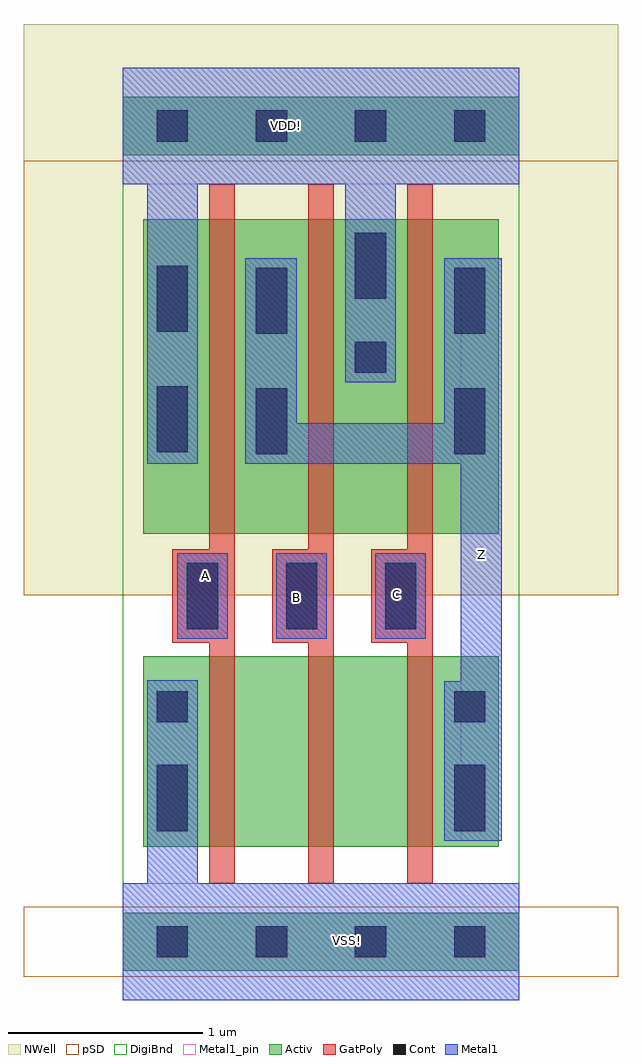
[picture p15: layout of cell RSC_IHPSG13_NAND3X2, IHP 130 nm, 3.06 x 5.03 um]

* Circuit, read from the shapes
.subckt RSC_IHPSG13_NAND3X2 A B C VDD! VSS! Z
XM1 n1 A VSS! VSS! sg13_lv_nmos w=0.98u l=0.13u
XM2 n2 B n1 VSS! sg13_lv_nmos w=0.98u l=0.13u
XM3 Z C n2 VSS! sg13_lv_nmos w=0.98u l=0.13u
XM4 Z A VDD! VDD! sg13_lv_pmos w=1.62u l=0.13u
XM5 VDD! B Z VDD! sg13_lv_pmos w=1.62u l=0.13u
XM6 Z C VDD! VDD! sg13_lv_pmos w=1.62u l=0.13u
.ends

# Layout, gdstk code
import gdstk
lib = gdstk.Library(unit=1e-6, precision=1e-09)
def R(c, l, rs):  # rectangles x0, y0, x1, y1
    for r in rs: c.add(gdstk.rectangle(r[:2], r[2:], *l))
def A(c, l, x, y, w, h, nx, ny, dx, dy):  # array of equal rectangles
    R(c, l, [(x+i*dx, y+j*dy, x+i*dx+w, y+j*dy+h) for i in range(nx) for j in range(ny)])
def P(c, l, *ps):  # polygons
    for p in ps: c.add(gdstk.Polygon(p, *l))
Activ = (1, 0)
GatPoly = (5, 0)
Cont = (6, 0)
Metal1 = (8, 0)
Metal1_pin = (8, 2)
pSD = (14, 0)
DigiBnd = (16, 0)
NWell = (31, 0)

rsc_ihpsg13_nand3x2 = lib.new_cell('RSC_IHPSG13_NAND3X2')
R(rsc_ihpsg13_nand3x2, Activ, [(0,-0.15,2.04,0.15), (0.105,0.49,1.935,1.47), (0.105,2.1,1.935,3.72), (0,4.05,2.04,4.35)])
P(rsc_ihpsg13_nand3x2, GatPoly, [(1.465,0.3),(1.465,1.54),(1.28,1.54),(1.28,2.02),(1.465,2.02),(1.465,3.9),(1.595,3.9),(1.595,0.3)],
  [(0.955,0.3),(0.955,1.54),(0.77,1.54),(0.77,2.02),(0.955,2.02),(0.955,3.9),(1.085,3.9),(1.085,0.3)],
  [(0.445,0.3),(0.445,1.54),(0.255,1.54),(0.255,2.02),(0.445,2.02),(0.445,3.9),(0.575,3.9),(0.575,0.3)])
A(rsc_ihpsg13_nand3x2, Cont, 0.175, -0.08, 0.16, 0.16, 4, 2, 0.51, 4.2)
A(rsc_ihpsg13_nand3x2, Cont, 0.33, 1.61, 0.16, 0.34, 3, 1, 0.51, 0)
R(rsc_ihpsg13_nand3x2, Cont, [(0.175,0.57,0.335,0.91), (1.705,0.57,1.865,0.91), (0.175,1.13,0.335,1.29), (1.705,1.13,1.865,1.29), (0.685,2.51,0.845,2.85), (1.705,2.51,1.865,2.85), (0.175,2.52,0.335,2.86), (1.195,2.93,1.355,3.09), (0.685,3.13,0.845,3.47), (1.705,3.13,1.865,3.47), (0.175,3.14,0.335,3.48), (1.195,3.31,1.355,3.65)])
A(rsc_ihpsg13_nand3x2, Metal1, 0.28, 1.56, 0.26, 0.44, 3, 1, 0.51, 0)
P(rsc_ihpsg13_nand3x2, Metal1, [(1.655,0.52),(1.655,1.34),(1.74,1.34),(1.74,2.46),(0.63,2.46),(0.63,3.52),(0.895,3.52),(0.895,2.67),(1.655,2.67),(1.655,3.52),(1.95,3.52),(1.95,0.52)],
  [(0,-0.3),(0,0.3),(0.125,0.3),(0.125,1.345),(0.385,1.345),(0.385,0.3),(2.04,0.3),(2.04,-0.3)],
  [(0.125,2.46),(0.125,3.9),(0,3.9),(0,4.5),(2.04,4.5),(2.04,3.9),(1.405,3.9),(1.405,2.88),(1.145,2.88),(1.145,3.9),(0.385,3.9),(0.385,2.46)])
A(rsc_ihpsg13_nand3x2, Metal1_pin, 0.28, 1.56, 0.26, 0.44, 3, 1, 0.51, 0)
R(rsc_ihpsg13_nand3x2, Metal1_pin, [(0,-0.3,2.04,0.3), (1.74,0.52,1.95,3.52), (0,3.9,2.04,4.5)])
R(rsc_ihpsg13_nand3x2, pSD, [(-0.51,-0.18,2.55,0.18), (-0.51,1.785,2.55,4.02)])
R(rsc_ihpsg13_nand3x2, DigiBnd, [(0,-0.3,2.04,4.5)])
R(rsc_ihpsg13_nand3x2, NWell, [(-0.51,1.785,2.55,4.725)])
rsc_ihpsg13_nand3x2.add(gdstk.Label('C', (1.41,1.79), layer=8, texttype=2))
rsc_ihpsg13_nand3x2.add(gdstk.Label('VSS!', (1.155,0.005), layer=8, texttype=2))
rsc_ihpsg13_nand3x2.add(gdstk.Label('VDD!', (0.84,4.2), layer=8, texttype=2))
rsc_ihpsg13_nand3x2.add(gdstk.Label('Z', (1.845,1.995), layer=8, texttype=2))
rsc_ihpsg13_nand3x2.add(gdstk.Label('B', (0.895,1.77), layer=8, texttype=2))
rsc_ihpsg13_nand3x2.add(gdstk.Label('A', (0.425,1.885), layer=8, texttype=2))

lib.write_gds('RSC_IHPSG13_NAND3X2.gds')
